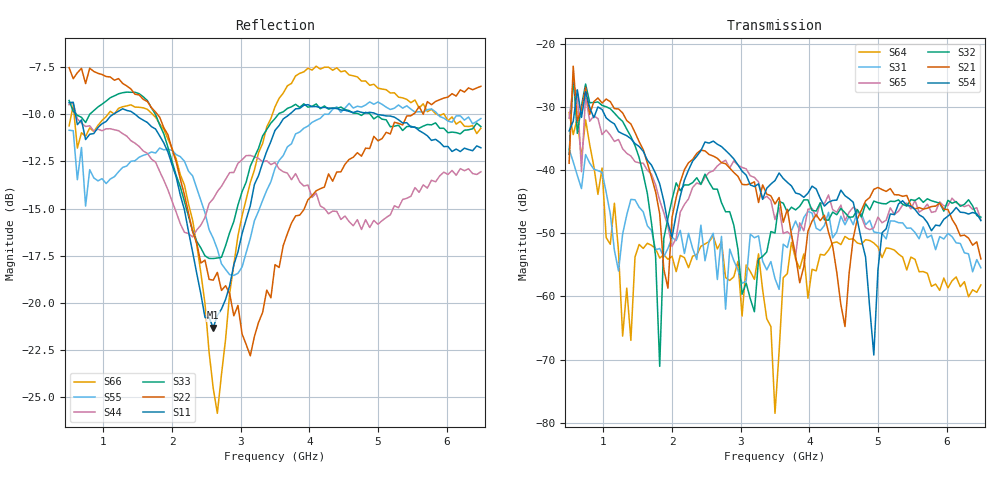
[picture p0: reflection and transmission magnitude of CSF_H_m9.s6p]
!Keysight Technologies,M9804A,MY58100912,A.14.10.03
!Date: Thursday, April 27, 2023 10:28:33
!Correction: S11(C  6-Port  )
!S12(C  6-Port  )
!S13(C  6-Port  )
!S14(C  6-Port  )
!S15(C  6-Port  )
!S16(C  6-Port  )
!S21(C  6-Port  )
!S22(C  6-Port  )
!S23(C  6-Port  )
!S24(C  6-Port  )
!S25(C  6-Port  )
!S26(C  6-Port  )
!S31(C  6-Port  )
!S32(C  6-Port  )
!S33(C  6-Port  )
!S34(C  6-Port  )
!S35(C  6-Port  )
!S36(C  6-Port  )
!S41(C  6-Port  )
!S42(C  6-Port  )
!S43(C  6-Port  )
!S44(C  6-Port  )
!S45(C  6-Port  )
!S46(C  6-Port  )
!S51(C  6-Port  )
!S52(C  6-Port  )
!S53(C  6-Port  )
!S54(C  6-Port  )
!S55(C  6-Port  )
!S56(C  6-Port  )
!S61(C  6-Port  )
!S62(C  6-Port  )
!S63(C  6-Port  )
!S64(C  6-Port  )
!S65(C  6-Port  )
!S66(C  6-Port  )
!S6P File: Measurement: :
# Hz S  RI  R 50
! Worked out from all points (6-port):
!   101 points, 500 MHz to 6.5 GHz, reference 50 ohm
!   strongest paths, dB at 500 MHz, 2 GHz, 3.5 GHz, 5 GHz, 6.5 GHz:
!     S54: -33.8, -50.6, -41.7, -55.8, -48.0
!     S21: -38.9, -47.5, -45.4, -42.8, -54.1
!     S32: -37.5, -44.7, -50.0, -45.2, -47.5
!     S65: -31.8, -52.1, -47.8, -47.5, -47.9
!     S31: -36.7, -50.7, -57.2, -49.9, -55.5
!     S64: -30.9, -53.7, -78.5, -52.2, -58.2
!   lowest |S11| = -21.3 dB at 2.6 GHz (marker M1), VSWR 1.19, Z = 42.4 + j2.28 ohm
!   |S11| at or under -10 dB: 592.7 MHz to 1.141 GHz (547.8 MHz wide, 63.2 % of centre); 1.464 GHz to 3.709 GHz (2.245 GHz wide, 86.8 % of centre); 4.991 GHz to end of sweep
